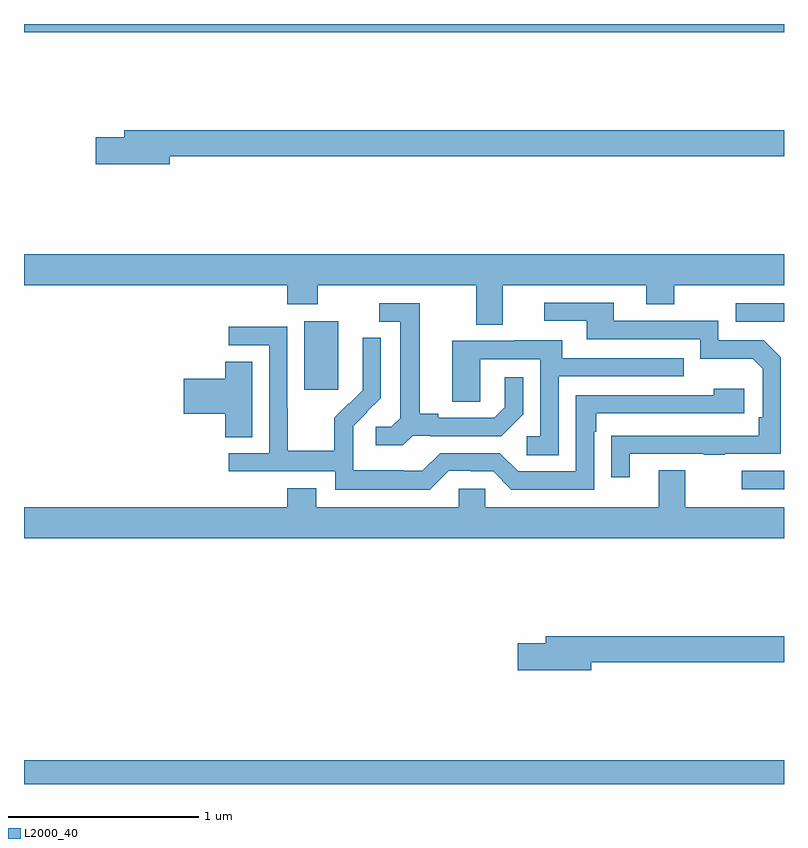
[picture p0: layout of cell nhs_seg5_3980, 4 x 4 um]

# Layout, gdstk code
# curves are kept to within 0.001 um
import gdstk
lib = gdstk.Library(unit=1e-6, precision=1e-09)
def R(c, l, rs):  # rectangles x0, y0, x1, y1
    for r in rs: c.add(gdstk.rectangle(r[:2], r[2:], *l))
def P(c, l, *ps):  # polygons
    for p in ps: c.add(gdstk.Polygon(p, *l))
L2000_40 = (2000, 40)

nhs_seg5_3980 = lib.new_cell('nhs_seg5_3980')
R(nhs_seg5_3980, L2000_40, [(345,856.799,349,856.924), (348.777,858.351,349,858.447), (346.475,858.873,346.654,859.234), (348.747,859.233,349,859.329), (345,860.756,349,860.799)])
P(nhs_seg5_3980, L2000_40, [(345.766,860.104),(349,860.104),(349,860.24),(345.527,860.24),(345.527,860.204),(345.378,860.204),(345.378,860.062),(345.766,860.062)],
  [(347.521,859.424),(348.275,859.424),(348.275,859.325),(348.423,859.325),(348.423,859.424),(349,859.424),(349,859.588),(345,859.588),(345,859.424),(346.385,859.424),(346.385,859.325),(346.545,859.325),(346.545,859.424),(347.381,859.424),(347.381,859.216),(347.521,859.216)],
  [(348.187,858.537),(348.577,858.537),(348.577,858.532),(348.689,858.532),(348.689,858.537),(348.984,858.537),(348.984,859.044),(348.894,859.134),(348.654,859.134),(348.654,859.236),(348.103,859.236),(348.103,859.332),(347.739,859.332),(347.739,859.236),(347.963,859.236),(347.963,859.14),(348.558,859.14),(348.558,859.037),(348.835,859.037),(348.888,858.984),(348.888,858.73),(348.868,858.73),(348.868,858.633),(348.091,858.632),(348.091,858.414),(348.187,858.414)],
  [(347.046,858.633),(347.14,858.633),(347.14,858.63),(347.512,858.63),(347.628,858.746),(347.628,858.94),(347.531,858.94),(347.531,858.783),(347.474,858.726),(347.179,858.726),(347.179,858.749),(347.083,858.749),(347.083,859.329),(346.869,859.329),(346.869,859.233),(346.979,859.233),(346.979,858.725),(346.932,858.678),(346.851,858.678),(346.851,858.581),(346.994,858.581)],
  [(347.235,858.447),(347.351,858.447),(347.351,858.444),(347.469,858.444),(347.565,858.348),(348,858.348),(348,858.653),(348.013,858.653),(348.013,858.75),(348.79,858.75),(348.79,858.88),(348.629,858.88),(348.629,858.846),(347.904,858.846),(347.904,858.444),(347.601,858.444),(347.505,858.54),(347.19,858.54),(347.097,858.447),(346.997,858.447),(346.997,858.451),(346.734,858.451),(346.734,858.585),(346.732,858.585),(346.732,858.682),(346.878,858.83),(346.878,859.148),(346.782,859.148),(346.782,858.994),(346.784,858.994),(346.784,858.872),(346.713,858.801),(346.71,858.804),(346.633,858.727),(346.633,858.553),(346.389,858.553),(346.389,858.776),(346.386,858.776),(346.386,859.206),(346.077,859.206),(346.077,859.107),(346.29,859.107),(346.29,858.54),(346.077,858.54),(346.077,858.444),(346.638,858.444),(346.638,858.347),(347.135,858.347)],
  [(347.814,858.945),(348.473,858.945),(348.473,859.041),(347.833,859.041),(347.833,859.135),(347.579,859.135),(347.579,859.131),(347.255,859.131),(347.255,858.811),(347.4,858.811),(347.4,859.035),(347.718,859.035),(347.718,858.63),(347.646,858.63),(347.646,858.529),(347.814,858.529)],
  [(346.201,859.022),(346.058,859.022),(346.058,858.932),(345.84,858.932),(345.84,858.749),(346.058,858.749),(346.058,858.625),(346.201,858.625)],
  [(349,858.256),(348.481,858.256),(348.481,858.451),(348.341,858.451),(348.341,858.256),(347.427,858.256),(347.427,858.354),(347.289,858.354),(347.289,858.256),(346.537,858.256),(346.537,858.355),(346.385,858.355),(346.385,858.256),(345,858.256),(345,858.092),(349,858.092)],
  [(347.986,857.44),(349,857.44),(349,857.576),(347.747,857.576),(347.747,857.54),(347.598,857.54),(347.598,857.398),(347.986,857.398)])

lib.write_gds('nhs_seg5_3980.gds')
